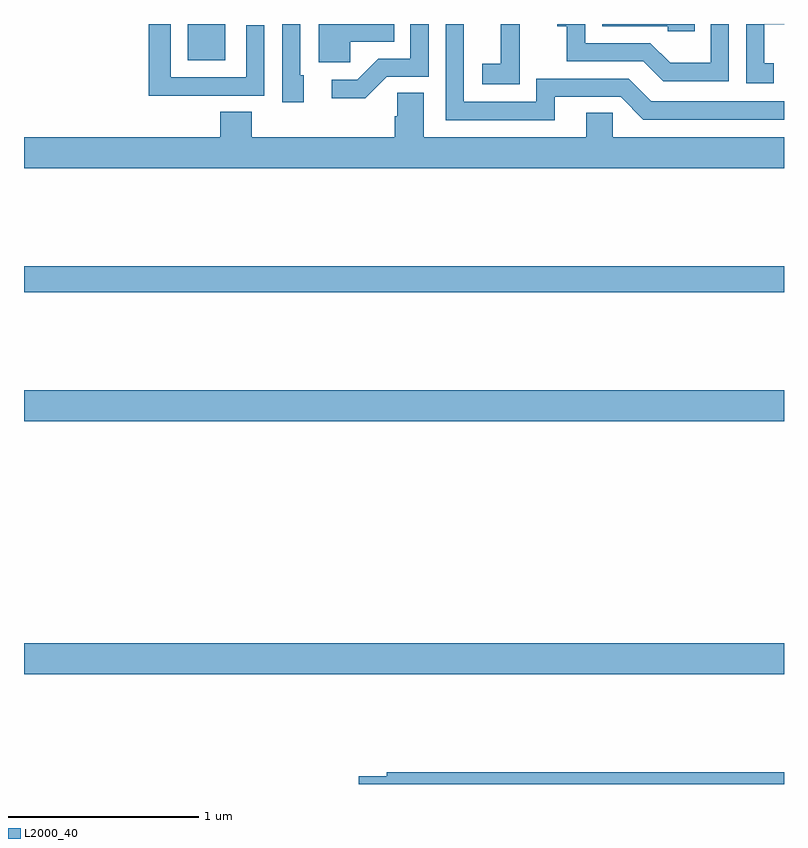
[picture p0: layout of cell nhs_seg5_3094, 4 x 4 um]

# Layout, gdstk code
import gdstk
lib = gdstk.Library(unit=1e-6, precision=1e-09)
def R(c, l, rs):  # rectangles x0, y0, x1, y1
    for r in rs: c.add(gdstk.rectangle(r[:2], r[2:], *l))
def P(c, l, *ps):  # polygons
    for p in ps: c.add(gdstk.Polygon(p, *l))
L2000_40 = (2000, 40)

nhs_seg5_3094 = lib.new_cell('nhs_seg5_3094')
R(nhs_seg5_3094, L2000_40, [(289,907.376,293,907.54), (289,908.708,293,908.872), (289,909.388,293,909.524), (289.862,910.607,290.059,910.799)])
P(nhs_seg5_3094, L2000_40, [(292.71,910.799),(292.614,910.799),(292.614,910.594),(292.4,910.594),(292.296,910.698),(291.954,910.698),(291.954,910.799),(291.807,910.799),(291.807,910.787),(291.856,910.787),(291.856,910.602),(292.259,910.602),(292.364,910.497),(292.71,910.497)],
  [(292.529,910.799),(292.044,910.799),(292.044,910.788),(292.389,910.788),(292.389,910.761),(292.529,910.761)],
  [(291.609,910.687),(291.608,910.687),(291.608,910.799),(291.509,910.799),(291.509,910.591),(291.411,910.591),(291.411,910.481),(291.609,910.481)],
  [(289.949,910.422),(290.265,910.422),(290.265,910.792),(290.169,910.792),(290.169,910.518),(289.773,910.518),(289.773,910.799),(289.657,910.799),(289.657,910.421),(289.949,910.421)],
  [(290.473,910.53),(290.454,910.53),(290.454,910.799),(290.358,910.799),(290.358,910.386),(290.473,910.386)],
  [(291.793,910.416),(292.14,910.416),(292.26,910.296),(293,910.296),(293,910.392),(292.302,910.392),(292.182,910.512),(291.696,910.512),(291.696,910.389),(291.315,910.389),(291.315,910.799),(291.219,910.799),(291.219,910.293),(291.793,910.293)],
  [(292.946,910.593),(292.897,910.593),(292.897,910.797),(293,910.797),(293,910.799),(292.8,910.799),(292.8,910.488),(292.946,910.488)],
  [(290.91,910.521),(291.129,910.521),(291.129,910.799),(291.033,910.799),(291.033,910.617),(290.864,910.617),(290.753,910.506),(290.619,910.506),(290.619,910.409),(290.797,910.409)],
  [(290.718,910.706),(290.948,910.706),(290.948,910.799),(290.552,910.799),(290.552,910.598),(290.718,910.598)],
  [(293,910.204),(292.098,910.204),(292.098,910.331),(291.959,910.331),(291.959,910.204),(291.103,910.204),(291.103,910.436),(290.964,910.436),(290.964,910.313),(290.951,910.313),(290.951,910.204),(290.198,910.204),(290.198,910.337),(290.033,910.337),(290.033,910.204),(289,910.204),(289,910.04),(293,910.04)],
  [(293,906.86),(290.908,906.86),(290.908,906.84),(290.762,906.84),(290.762,906.799),(293,906.799)])

lib.write_gds('nhs_seg5_3094.gds')
